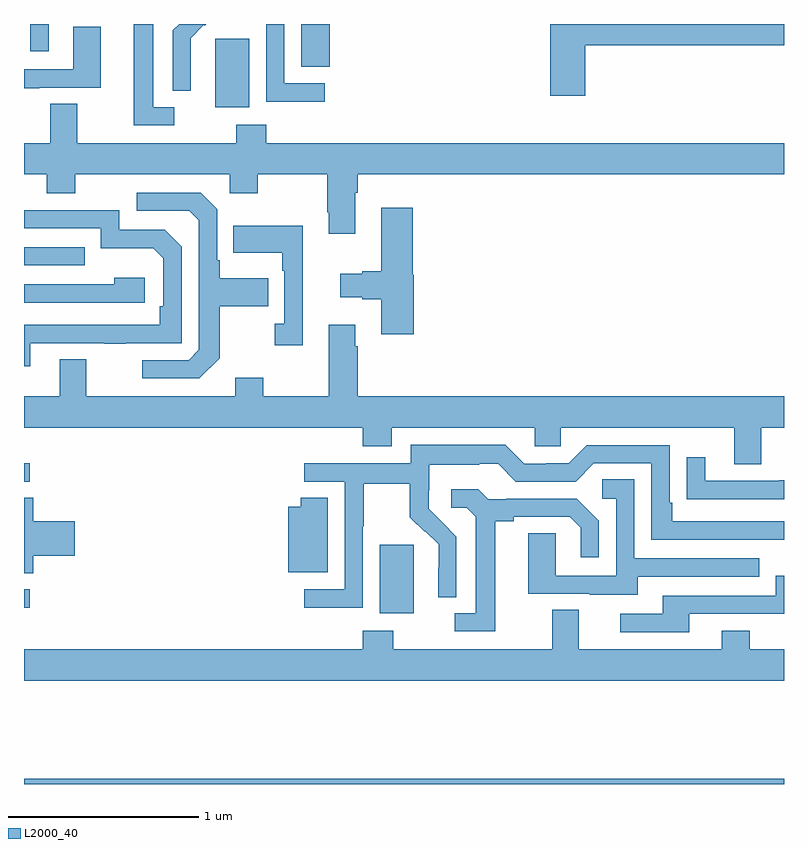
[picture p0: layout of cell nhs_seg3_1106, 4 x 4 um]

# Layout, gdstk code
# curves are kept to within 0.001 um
import gdstk
lib = gdstk.Library(unit=1e-6, precision=1e-09)
def R(c, l, rs):  # rectangles x0, y0, x1, y1
    for r in rs: c.add(gdstk.rectangle(r[:2], r[2:], *l))
def P(c, l, *ps):  # polygons
    for p in ps: c.add(gdstk.Polygon(p, *l))
L2000_40 = (2000, 40)

nhs_seg3_1106 = lib.new_cell('nhs_seg3_1106')
R(nhs_seg3_1106, L2000_40, [(169,672.4,173,672.428), (170.873,673.298,171.052,673.659), (169,673.327,169.03,673.425), (169,673.992,169.03,674.088), (169,675.129,169.319,675.225), (170.006,675.962,170.185,676.323), (170.459,676.174,170.609,676.4), (169.032,676.257,169.129,676.4)])
P(nhs_seg3_1106, L2000_40, [(169.792,675.963),(169.681,675.963),(169.681,676.4),(169.577,676.4),(169.577,675.867),(169.792,675.867)],
  [(170.584,676.089),(170.37,676.089),(170.37,676.4),(170.274,676.4),(170.274,675.991),(170.584,675.991)],
  [(171.953,676.288),(173,676.288),(173,676.4),(171.77,676.4),(171.77,676.023),(171.953,676.023)],
  [(169.878,676.202),(169.877,676.202),(169.877,676.325),(169.947,676.395),(169.95,676.392),(169.958,676.4),(169.816,676.4),(169.782,676.366),(169.782,676.048),(169.878,676.048)],
  [(169.081,676.065),(169.405,676.065),(169.405,676.385),(169.26,676.385),(169.26,676.161),(169,676.161),(169,676.061),(169.081,676.061)],
  [(170.743,675.512),(170.756,675.512),(170.756,675.608),(173,675.608),(173,675.772),(170.276,675.772),(170.276,675.871),(170.116,675.871),(170.116,675.772),(169.279,675.772),(169.279,675.98),(169.139,675.98),(169.139,675.772),(169,675.772),(169,675.608),(169.121,675.608),(169.121,675.509),(169.269,675.509),(169.269,675.608),(170.082,675.608),(170.082,675.509),(170.229,675.509),(170.229,675.608),(170.596,675.608),(170.596,675.409),(170.603,675.409),(170.603,675.297),(170.743,675.297)],
  [(170.029,674.641),(170.029,674.914),(170.285,674.914),(170.285,675.061),(170.029,675.061),(170.029,675.157),(170.016,675.157),(170.016,675.426),(169.929,675.513),(169.593,675.513),(169.593,675.417),(169.869,675.417),(169.92,675.366),(169.92,674.685),(169.866,674.631),(169.623,674.631),(169.623,674.535),(169.923,674.535)],
  [(171.052,675.081),(171.047,675.081),(171.047,675.433),(170.879,675.433),(170.879,675.098),(170.78,675.098),(170.78,675.085),(170.664,675.085),(170.664,674.963),(170.78,674.963),(170.78,674.951),(170.879,674.951),(170.879,674.766),(171.052,674.766)],
  [(169.033,674.721),(169.423,674.721),(169.423,674.716),(169.535,674.716),(169.535,674.721),(169.83,674.721),(169.83,675.228),(169.74,675.318),(169.5,675.318),(169.5,675.42),(169,675.42),(169,675.324),(169.404,675.324),(169.404,675.221),(169.681,675.221),(169.734,675.168),(169.734,674.914),(169.714,674.914),(169.714,674.817),(169,674.816),(169,674.598),(169.033,674.598)],
  [(170.468,675.337),(170.101,675.337),(170.101,675.197),(170.358,675.197),(170.358,675.101),(170.37,675.101),(170.37,674.822),(170.319,674.822),(170.319,674.709),(170.468,674.709)],
  [(169.636,675.064),(169.475,675.064),(169.475,675.03),(169,675.03),(169,674.934),(169.636,674.934)],
  [(172.879,674.276),(173,674.276),(173,674.44),(170.756,674.44),(170.756,674.705),(170.743,674.705),(170.743,674.818),(170.603,674.818),(170.603,674.44),(170.259,674.44),(170.259,674.539),(170.111,674.539),(170.111,674.44),(169.327,674.44),(169.327,674.635),(169.187,674.635),(169.187,674.44),(169,674.44),(169,674.276),(170.783,674.276),(170.783,674.177),(170.935,674.177),(170.935,674.276),(171.687,674.276),(171.687,674.178),(171.825,674.178),(171.825,674.276),(172.739,674.276),(172.739,674.082),(172.879,674.082)],
  [(170.784,673.756),(170.787,673.756),(170.787,673.98),(171.031,673.98),(171.031,673.805),(171.108,673.728),(171.111,673.731),(171.182,673.661),(171.182,673.538),(171.18,673.538),(171.18,673.384),(171.276,673.384),(171.276,673.702),(171.13,673.85),(171.13,673.947),(171.132,673.947),(171.132,674.081),(171.395,674.081),(171.395,674.085),(171.495,674.085),(171.588,673.992),(171.903,673.992),(171.999,674.088),(172.302,674.088),(172.302,673.686),(173,673.686),(173,673.782),(172.411,673.782),(172.411,673.879),(172.398,673.879),(172.398,674.184),(171.963,674.184),(171.867,674.088),(171.749,674.088),(171.749,674.085),(171.633,674.085),(171.533,674.185),(171.036,674.185),(171.036,674.088),(170.475,674.088),(170.475,673.992),(170.688,673.992),(170.688,673.425),(170.475,673.425),(170.475,673.327),(170.784,673.327)],
  [(173,674),(172.975,674),(172.975,673.995),(172.585,673.995),(172.585,674.119),(172.489,674.119),(172.489,673.9),(172.591,673.9),(172.591,673.899),(173,673.899)],
  [(172.231,673.491),(172.871,673.491),(172.871,673.587),(172.212,673.587),(172.212,674.003),(172.044,674.003),(172.044,673.902),(172.116,673.902),(172.116,673.497),(171.798,673.497),(171.798,673.721),(171.653,673.721),(171.653,673.401),(171.977,673.401),(171.977,673.397),(172.231,673.397)],
  [(171.481,673.784),(171.577,673.784),(171.577,673.806),(171.872,673.806),(171.929,673.749),(171.929,673.593),(172.026,673.593),(172.026,673.786),(171.91,673.902),(171.538,673.902),(171.538,673.899),(171.444,673.899),(171.392,673.951),(171.249,673.951),(171.249,673.854),(171.33,673.854),(171.377,673.807),(171.377,673.299),(171.267,673.299),(171.267,673.203),(171.481,673.203)],
  [(169.049,673.601),(169.267,673.601),(169.267,673.784),(169.049,673.784),(169.049,673.907),(169,673.907),(169,673.51),(169.049,673.51)],
  [(170.599,673.907),(170.456,673.907),(170.456,673.858),(170.39,673.858),(170.39,673.514),(170.599,673.514)],
  [(172.501,673.296),(173,673.296),(173,673.495),(172.956,673.495),(172.956,673.392),(172.361,673.392),(172.361,673.296),(172.137,673.296),(172.137,673.2),(172.501,673.2)],
  [(173,673.108),(172.821,673.108),(172.821,673.207),(172.673,673.207),(172.673,673.108),(171.919,673.108),(171.919,673.316),(171.779,673.316),(171.779,673.108),(170.943,673.108),(170.943,673.207),(170.783,673.207),(170.783,673.108),(169,673.108),(169,672.944),(173,672.944)])

lib.write_gds('nhs_seg3_1106.gds')
